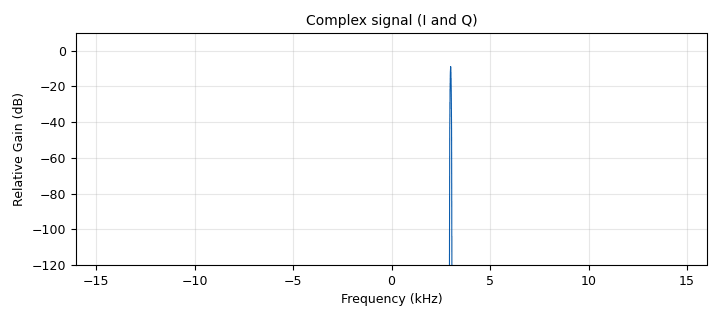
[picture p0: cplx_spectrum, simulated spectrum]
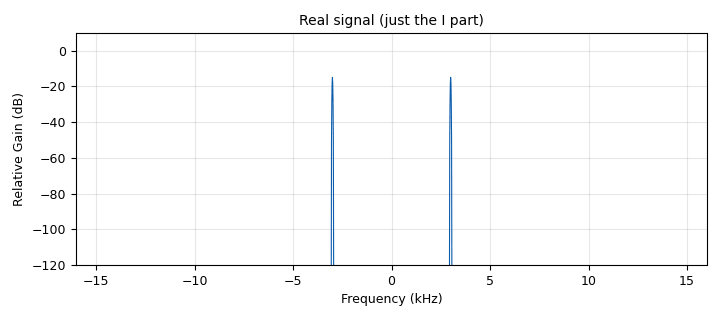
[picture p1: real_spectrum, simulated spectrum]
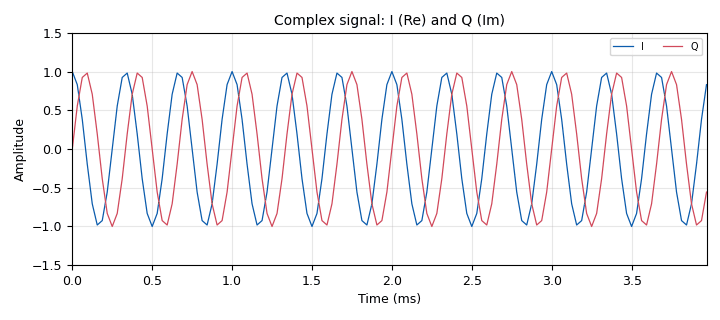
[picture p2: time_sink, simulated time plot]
options:
  parameters:
    author: GNU Radio Intro Workshop
    description: A complex tone, and its real part on its own
    generate_options: qt_gui
    generator_class_name: PythonQtGuiGenerator
    generator_module: gnuradio.grc.workflows.python_qt_gui
    id: real_vs_complex
    output_language: python
    title: Real vs Complex Signals
  states: {}

blocks:
- name: freq
  id: variable_qtgui_range
  parameters:
    gui_hint: 0,0,1,2
    label: Frequency (Hz)  -- try going past +/-16 kHz!
    start: '-48000'
    step: '250'
    stop: '48000'
    value: '3000'
  states: {}
- name: samp_rate
  id: variable
  parameters:
    value: '32000'
  states: {}
- name: blocks_throttle2_0
  id: blocks_throttle2
  parameters:
    samples_per_second: samp_rate
    type: complex
  states: {}
- name: cplx_spectrum
  id: qtgui_freq_sink_x
  parameters:
    bw: samp_rate
    fc: '0'
    fftsize: '2048'
    gui_hint: 1,1,1,1
    name: '"Complex signal (I and Q)"'
    type: complex
    ymin: '-120'
  states: {}
- name: real_spectrum
  id: qtgui_freq_sink_x
  parameters:
    bw: samp_rate
    fc: '0'
    fftsize: '2048'
    gui_hint: 1,0,1,1
    name: '"Real signal (just the I part)"'
    type: float
    ymin: '-120'
  states: {}
- name: sig_cplx
  id: analog_sig_source_x
  parameters:
    amp: '1'
    freq: freq
    offset: '0'
    phase: '0'
    samp_rate: samp_rate
    type: complex
    waveform: analog.GR_COS_WAVE
  states: {}
- name: time_sink
  id: qtgui_time_sink_x
  parameters:
    gui_hint: 2,0,1,2
    label1: '"I"'
    label2: '"Q"'
    name: '"Complex signal: I (Re) and Q (Im)"'
    size: '128'
    srate: samp_rate
    type: complex
    ymax: '1.5'
    ymin: '-1.5'
  states: {}
- name: to_real
  id: blocks_complex_to_real
  parameters: {}
  states: {}

connections:
- [blocks_throttle2_0, '0', cplx_spectrum, '0']
- [blocks_throttle2_0, '0', time_sink, '0']
- [blocks_throttle2_0, '0', to_real, '0']
- [sig_cplx, '0', blocks_throttle2_0, '0']
- [to_real, '0', real_spectrum, '0']

metadata:
  file_format: 1
  grc_version: 3.10.12.0
